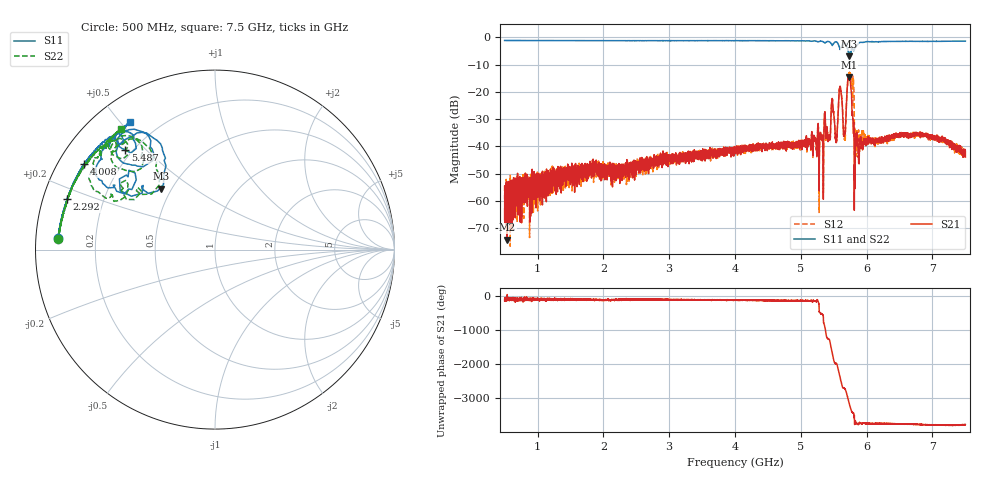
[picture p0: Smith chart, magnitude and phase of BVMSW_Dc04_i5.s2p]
!Keysight Technologies,M9374A,MY55442783,A.12.55.05
!Date: Thursday, May 20, 2021 18:20:35
!Correction: S11(Full 2 Port(1,2))
!S21(Full 2 Port(1,2))
!S12(Full 2 Port(1,2))
!S22(Full 2 Port(1,2))
!S2P File: Measurements: S11, S21, S12, S22:
# Hz S  RI  R 50
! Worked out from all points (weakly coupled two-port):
!   7001 points, 500 MHz to 7.5 GHz, reference 50 ohm
!   highest |S21| = -14.49 dB at 5.73 GHz (marker M1); lowest = -74.2 dB at 540 MHz (marker M2)
!   lowest |S11| = -6.9 dB at 5.739 GHz (marker M3), VSWR 2.65, Z = 22 + j18.8 ohm
!   |S11| at or under -10 dB: nowhere
!   |S22| runs from -7.0 to -1.1 dB; largest |S21 - S12| = 0.22
!   S11 on the Smith chart (normalised r, x): 500 MHz: 0.07, +0.04; 2.292 GHz: 0.07, +0.17; 4.008 GHz: 0.08, +0.30; 5.487 GHz: 0.17, +0.43; 7.5 GHz: 0.10, +0.53
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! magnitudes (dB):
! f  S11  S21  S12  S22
! 500 MHz  -1.1  -66.8  -54.3  -1.2
! 540 MHz  -1.1  -74.2  -56.1  -1.2
! 1.667 GHz  -1.2  -49.5  -49.8  -1.2
! 2.292 GHz  -1.2  -48.1  -47.9  -1.2
! 2.834 GHz  -1.2  -44.5  -45.1  -1.2
! 4 GHz  -1.2  -40.6  -40.8  -1.3
! 4.008 GHz  -1.2  -40.5  -42.3  -1.3
! 5.167 GHz  -1.4  -34.8  -35.1  -1.5
! 5.31 GHz  -1.4  -36.3  -36.5  -1.5
! 5.419 GHz  -1.5  -38.0  -37.3  -1.6
! 5.487 GHz  -2.5  -25.5  -25.5  -2.5
! 5.536 GHz  -1.6  -38.6  -38.0  -1.7
! 5.603 GHz  -4.1  -18.8  -18.7  -3.9
! 5.665 GHz  -2.2  -35.0  -37.2  -2.2
! 5.73 GHz  -5.9  -14.5  -13.0  -5.8
! 5.739 GHz  -6.9  -15.1  -12.8  -6.8
! 5.775 GHz  -3.7  -24.8  -16.2  -4.3
! 5.798 GHz  -4.7  -34.1  -15.6  -4.5
! 5.845 GHz  -3.2  -38.4  -35.3  -3.2
! 6.334 GHz  -1.5  -36.6  -36.9  -1.4
! 6.904 GHz  -1.5  -35.6  -36.3  -1.4
! 7.5 GHz  -1.4  -43.9  -43.2  -1.4
